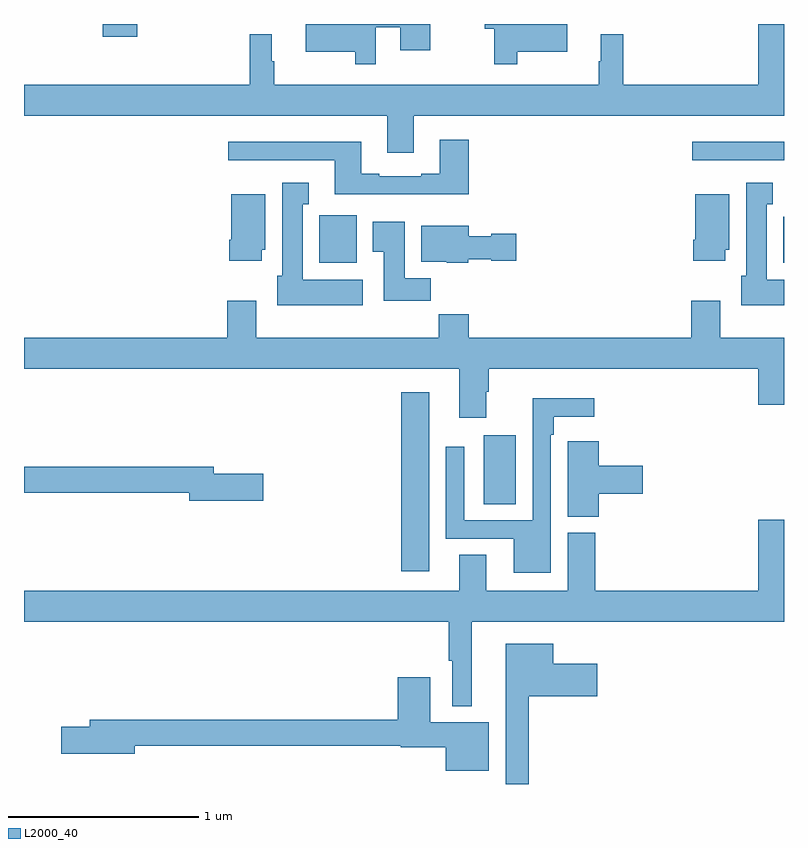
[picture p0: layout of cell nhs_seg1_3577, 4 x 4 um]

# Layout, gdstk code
import gdstk
lib = gdstk.Library(unit=1e-6, precision=1e-09)
def R(c, l, rs):  # rectangles x0, y0, x1, y1
    for r in rs: c.add(gdstk.rectangle(r[:2], r[2:], *l))
def P(c, l, *ps):  # polygons
    for p in ps: c.add(gdstk.Polygon(p, *l))
L2000_40 = (2000, 40)

nhs_seg1_3577 = lib.new_cell('nhs_seg1_3577')
R(nhs_seg1_3577, L2000_40, [(306.986,565.32,307.132,566.26), (307.421,565.672,307.588,566.035), (306.555,566.942,306.751,567.192), (308.996,566.942,309,567.184), (308.517,567.483,309,567.58), (305.414,568.131,305.597,568.199)])
P(nhs_seg1_3577, L2000_40, [(307.597,568.052),(307.858,568.052),(307.858,568.199),(307.424,568.199),(307.424,568.174),(307.476,568.174),(307.476,567.987),(307.597,567.987)],
  [(306.852,568.182),(306.98,568.182),(306.98,568.062),(307.138,568.062),(307.138,568.199),(306.482,568.199),(306.482,568.052),(306.744,568.052),(306.744,567.987),(306.852,567.987)],
  [(307.051,567.716),(309,567.716),(309,568.199),(308.864,568.199),(308.864,567.88),(308.153,567.88),(308.153,568.144),(308.036,568.144),(308.036,568.004),(308.025,568.004),(308.025,567.88),(306.316,567.88),(306.316,568.004),(306.304,568.004),(306.304,568.144),(306.187,568.144),(306.187,567.88),(305,567.88),(305,567.716),(306.911,567.716),(306.911,567.522),(307.051,567.522)],
  [(307.34,567.589),(307.187,567.589),(307.187,567.412),(307.091,567.412),(307.091,567.399),(306.871,567.399),(306.871,567.412),(306.775,567.412),(306.775,567.58),(306.075,567.58),(306.075,567.483),(306.635,567.483),(306.635,567.302),(307.34,567.302)],
  [(309,566.854),(308.908,566.854),(308.908,567.251),(308.941,567.251),(308.941,567.364),(308.801,567.364),(308.801,566.874),(308.774,566.874),(308.774,566.72),(309,566.72)],
  [(306.784,566.854),(306.466,566.854),(306.466,567.251),(306.499,567.251),(306.499,567.364),(306.359,567.364),(306.359,566.874),(306.332,566.874),(306.332,566.72),(306.784,566.72)],
  [(308.692,567.012),(308.713,567.012),(308.713,567.304),(308.534,567.304),(308.534,567.064),(308.522,567.064),(308.522,566.952),(308.692,566.952)],
  [(306.25,567.012),(306.271,567.012),(306.271,567.304),(306.092,567.304),(306.092,567.064),(306.08,567.064),(306.08,566.952),(306.25,566.952)],
  [(307.142,566.86),(307.003,566.86),(307.003,567.157),(306.836,567.157),(306.836,567.001),(306.893,567.001),(306.893,566.742),(307.142,566.742)],
  [(307.338,566.96),(307.458,566.96),(307.458,566.953),(307.591,566.953),(307.591,567.095),(307.458,567.095),(307.458,567.082),(307.342,567.082),(307.342,567.136),(307.091,567.136),(307.091,566.948),(307.224,566.948),(307.224,566.942),(307.338,566.942)],
  [(307.432,566.264),(307.445,566.264),(307.445,566.384),(308.864,566.384),(308.864,566.196),(309,566.196),(309,566.548),(308.665,566.548),(308.665,566.743),(308.513,566.743),(308.513,566.548),(307.34,566.548),(307.34,566.672),(307.183,566.672),(307.183,566.548),(306.223,566.548),(306.223,566.743),(306.071,566.743),(306.071,566.548),(305,566.548),(305,566.384),(307.292,566.384),(307.292,566.127),(307.432,566.127)],
  [(307.773,566.036),(307.789,566.036),(307.789,566.132),(308.002,566.132),(308.002,566.23),(307.677,566.23),(307.677,565.587),(307.317,565.587),(307.317,565.975),(307.221,565.975),(307.221,565.491),(307.577,565.491),(307.577,565.31),(307.773,565.31)],
  [(308.024,565.727),(308.257,565.727),(308.257,565.874),(308.024,565.874),(308.024,566.002),(307.863,566.002),(307.863,565.889),(307.862,565.889),(307.862,565.606),(308.024,565.606)],
  [(306.259,565.832),(305.998,565.832),(305.998,565.868),(305,565.868),(305,565.732),(305.87,565.732),(305.87,565.69),(306.259,565.69)],
  [(307.357,565.052),(309,565.052),(309,565.591),(308.864,565.591),(308.864,565.216),(308.006,565.216),(308.006,565.521),(307.862,565.521),(307.862,565.216),(307.432,565.216),(307.432,565.406),(307.292,565.406),(307.292,565.216),(305,565.216),(305,565.052),(307.236,565.052),(307.236,564.847),(307.253,564.847),(307.253,564.608),(307.357,564.608)],
  [(307.657,564.662),(308.017,564.662),(308.017,564.832),(307.786,564.832),(307.786,564.937),(307.535,564.937),(307.535,564.199),(307.657,564.199)],
  [(307.447,564.523),(307.138,564.523),(307.138,564.76),(306.968,564.76),(306.968,564.536),(305.345,564.536),(305.345,564.5),(305.196,564.5),(305.196,564.358),(305.584,564.358),(305.584,564.4),(306.984,564.4),(306.984,564.392),(307.22,564.392),(307.22,564.269),(307.447,564.269)])

lib.write_gds('nhs_seg1_3577.gds')
